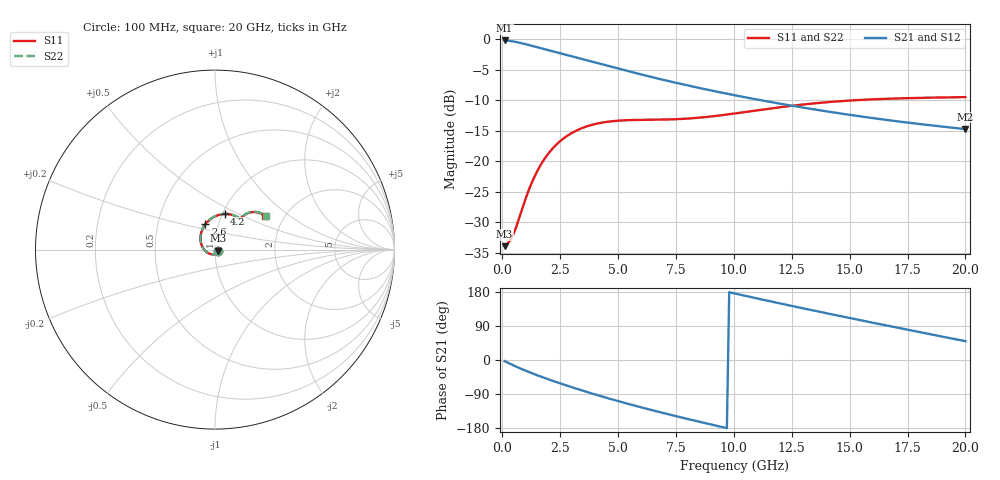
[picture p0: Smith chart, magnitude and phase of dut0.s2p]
! Touchstone file exported from HFSS 2023.1.0
!  File:  D:/Users/fzz/RDL_TSV/temp_RDL_TSV_0_1778742338.aedt
!  Generated:  3:15:31 %x4E0B%x5348  5%x6708 14, 2026
!  Design:  RDL_TSV
!  Project:  temp_RDL_TSV_0_1778742338
!  Setup:  Setup1
!  Solution:  Sweep
! Variables:
!  dtsv = 20.88um
!  hbump = 3um
!  htsv = 87.49um
!  ldown = 478.69um
!  lrdl = 654.83um
!  p = 40
!  p1 = 55.94um
!  rhole = 10um
!  subl = 4055.39um
!  t = 450um
!  tdown = 3.23um
!  trdl = 4.89um
!  viad = 10um
!  wdown = 13.56um
!  wrdl = 22.6um
!  xbump = 18um
# GHz S MA R 50.000000
! Terminal data exported
! Port[1] = TM1_1_T1
! Port[2] = TM1_4_T1
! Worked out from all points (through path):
!   200 points, 100 MHz to 20 GHz, reference 50 ohm
!   highest |S21| = -0.18 dB at 100 MHz (marker M1); lowest = -14.7 dB at 20 GHz (marker M2)
!   group delay of S21, straight-line fit = 40.7 ps
!   lowest |S11| = -34.0 dB at 100 MHz (marker M3), VSWR 1.04, Z = 51.9 - j0.624 ohm
!   |S11| at or under -10 dB: start of sweep to 15.23 GHz
!   |S22| runs from -34.0 to -9.4 dB; largest |S21 - S12| = 1.3e-13
!   S11 on the Smith chart (normalised r, x): 100 MHz: 1.04, -0.01; 2.6 GHz: 0.86, +0.25; 4.2 GHz: 1.02, +0.42; 20 GHz: 1.60, +0.67
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0.1  0.02005 -17.4  0.979 -3.0  0.979 -3.0  0.02004 -17.4
! Gamma 0 0 0 0
! Port Impedance 50 0 50 0
0.3  0.02182 -56.6  0.9711 -9.0  0.9711 -9.0  0.02181 -56.7
0.5  0.02564 -94.5  0.9584 -14.7  0.9584 -14.7  0.02563 -94.6
0.8  0.03748 -140.5  0.9328 -22.9  0.9328 -22.9  0.03754 -140.7
1.2  0.06155 179.1  0.8929 -33.0  0.8929 -33.0  0.06178 178.9
1.5  0.08215 158.2  0.8624 -40.0  0.8624 -40.0  0.08254 158.0
1.8  0.1028 141.8  0.8327 -46.8  0.8327 -46.8  0.1034 141.7
2.2  0.1286 124.5  0.7951 -55.4  0.7951 -55.4  0.1294 124.4
2.6  0.1513 110.7  0.7595 -63.7  0.7595 -63.7  0.1523 110.6
3.5  0.1886 87.6  0.6849 -81.4  0.6849 -81.4  0.1899 87.6
4.2  0.2054 75.0  0.6316 -94.4  0.6316 -94.4  0.207 75.0
4.8  0.2133 66.9  0.5893 -105.0  0.5893 -105.0  0.215 66.9
5.4  0.217 60.8  0.5505 -115.2  0.5505 -115.2  0.2188 60.8
6.1  0.2185 56.0  0.5093 -126.6  0.5093 -126.6  0.2203 56.0
6.8  0.2192 53.0  0.4726 -137.6  0.4726 -137.6  0.2211 53.0
8.3  0.2257 50.7  0.4067 -160.0  0.4067 -160.0  0.2276 50.7
10.1  0.2471 49.9  0.3456 174.7  0.3456 174.7  0.2491 49.9
11.7  0.2725 48.0  0.3032 153.2  0.3032 153.2  0.2747 48.0
13.4  0.2972 44.7  0.2672 131.1  0.2672 131.1  0.2997 44.7
15  0.3143 41.2  0.24 110.9  0.24 110.9  0.3171 41.2
16.7  0.3256 37.8  0.2167 89.8  0.2167 89.8  0.3287 37.8
20  0.3354 33.7  0.1834 49.7  0.1834 49.7  0.3387 33.7
